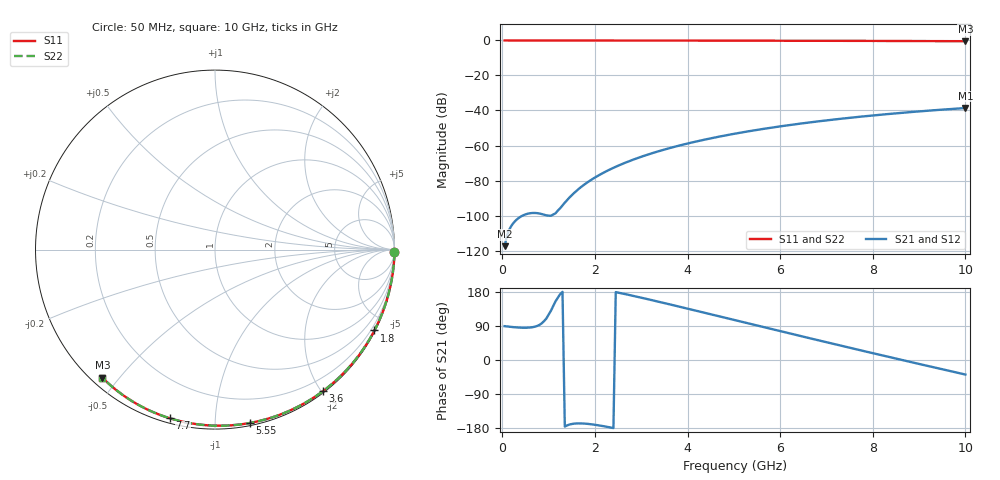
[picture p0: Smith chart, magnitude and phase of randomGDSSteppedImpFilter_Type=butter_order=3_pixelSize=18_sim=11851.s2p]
! freq	dB(S11)	phase(S11)	dB(S12)	phase(S12)
!  dB(S21)	phase(S21)	dB(S22)	phase(S22)
!S-par simulation data
#  GHz  S  DB  R 50
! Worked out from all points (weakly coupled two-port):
!   200 points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, 50 MHz to 10 GHz, reference 50 ohm
!   highest |S21| = -38.59 dB at 10 GHz (marker M1); lowest = -117.5 dB at 50 MHz (marker M2)
!   lowest |S11| = -0.4 dB at 10 GHz (marker M3), VSWR 39.28, Z = 1.53 - j22.6 ohm
!   |S11| at or under -10 dB: nowhere
!   |S22| runs from -0.4 to 0.0 dB; largest |S21 - S12| = 0
!   S11 on the Smith chart (normalised r, x): 50 MHz: open; 1.8 GHz: 0.04, -4.18; 3.6 GHz: 0.02, -2.02; 5.55 GHz: 0.02, -1.22; 7.7 GHz: 0.02, -0.77; 10 GHz: 0.03, -0.45
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0.05  -0.00 -0.8  -117.49 89.3  -117.49 89.3  -0.00 -0.8
0.45  -0.01 -6.8  -99.89 85.0  -99.89 85.0  -0.01 -6.8
0.9  -0.02 -13.6  -99.53 102.4  -99.53 102.4  -0.02 -13.6
1.75  -0.03 -26.2  -82.72 -167.6  -82.72 -167.6  -0.03 -26.2
1.8  -0.03 -26.9  -81.75 -168.1  -81.75 -168.1  -0.03 -26.9
1.9  -0.04 -28.4  -79.95 -169.3  -79.95 -169.3  -0.04 -28.4
2.05  -0.04 -30.6  -77.51 -171.8  -77.51 -171.8  -0.04 -30.6
2.25  -0.04 -33.5  -74.65 -176.1  -74.65 -176.1  -0.04 -33.5
2.45  -0.05 -36.3  -72.13 179.2  -72.13 179.2  -0.05 -36.3
2.65  -0.05 -39.2  -69.88 174.0  -69.88 174.0  -0.05 -39.2
3  -0.06 -44.2  -66.44 164.5  -66.44 164.5  -0.06 -44.2
3.4  -0.07 -49.8  -63.07 153.1  -63.07 153.1  -0.07 -49.8
3.6  -0.07 -52.6  -61.57 147.3  -61.57 147.3  -0.07 -52.6
4.3  -0.09 -62.2  -57.04 126.7  -57.04 126.7  -0.09 -62.2
5.05  -0.11 -72.1  -53.11 104.4  -53.11 104.4  -0.11 -72.1
5.55  -0.13 -78.6  -50.87 89.6  -50.87 89.6  -0.13 -78.6
6.1  -0.15 -85.5  -48.70 73.3  -48.70 73.3  -0.15 -85.5
6.7  -0.18 -92.9  -46.61 55.7  -46.61 55.7  -0.18 -92.9
7.7  -0.24 -104.9  -43.63 26.6  -43.63 26.6  -0.24 -104.9
8.35  -0.29 -112.5  -41.98 8.0  -41.98 8.0  -0.29 -112.5
9.15  -0.36 -121.7  -40.21 -14.6  -40.21 -14.6  -0.36 -121.7
10  -0.44 -131.3  -38.59 -38.4  -38.59 -38.4  -0.44 -131.3
